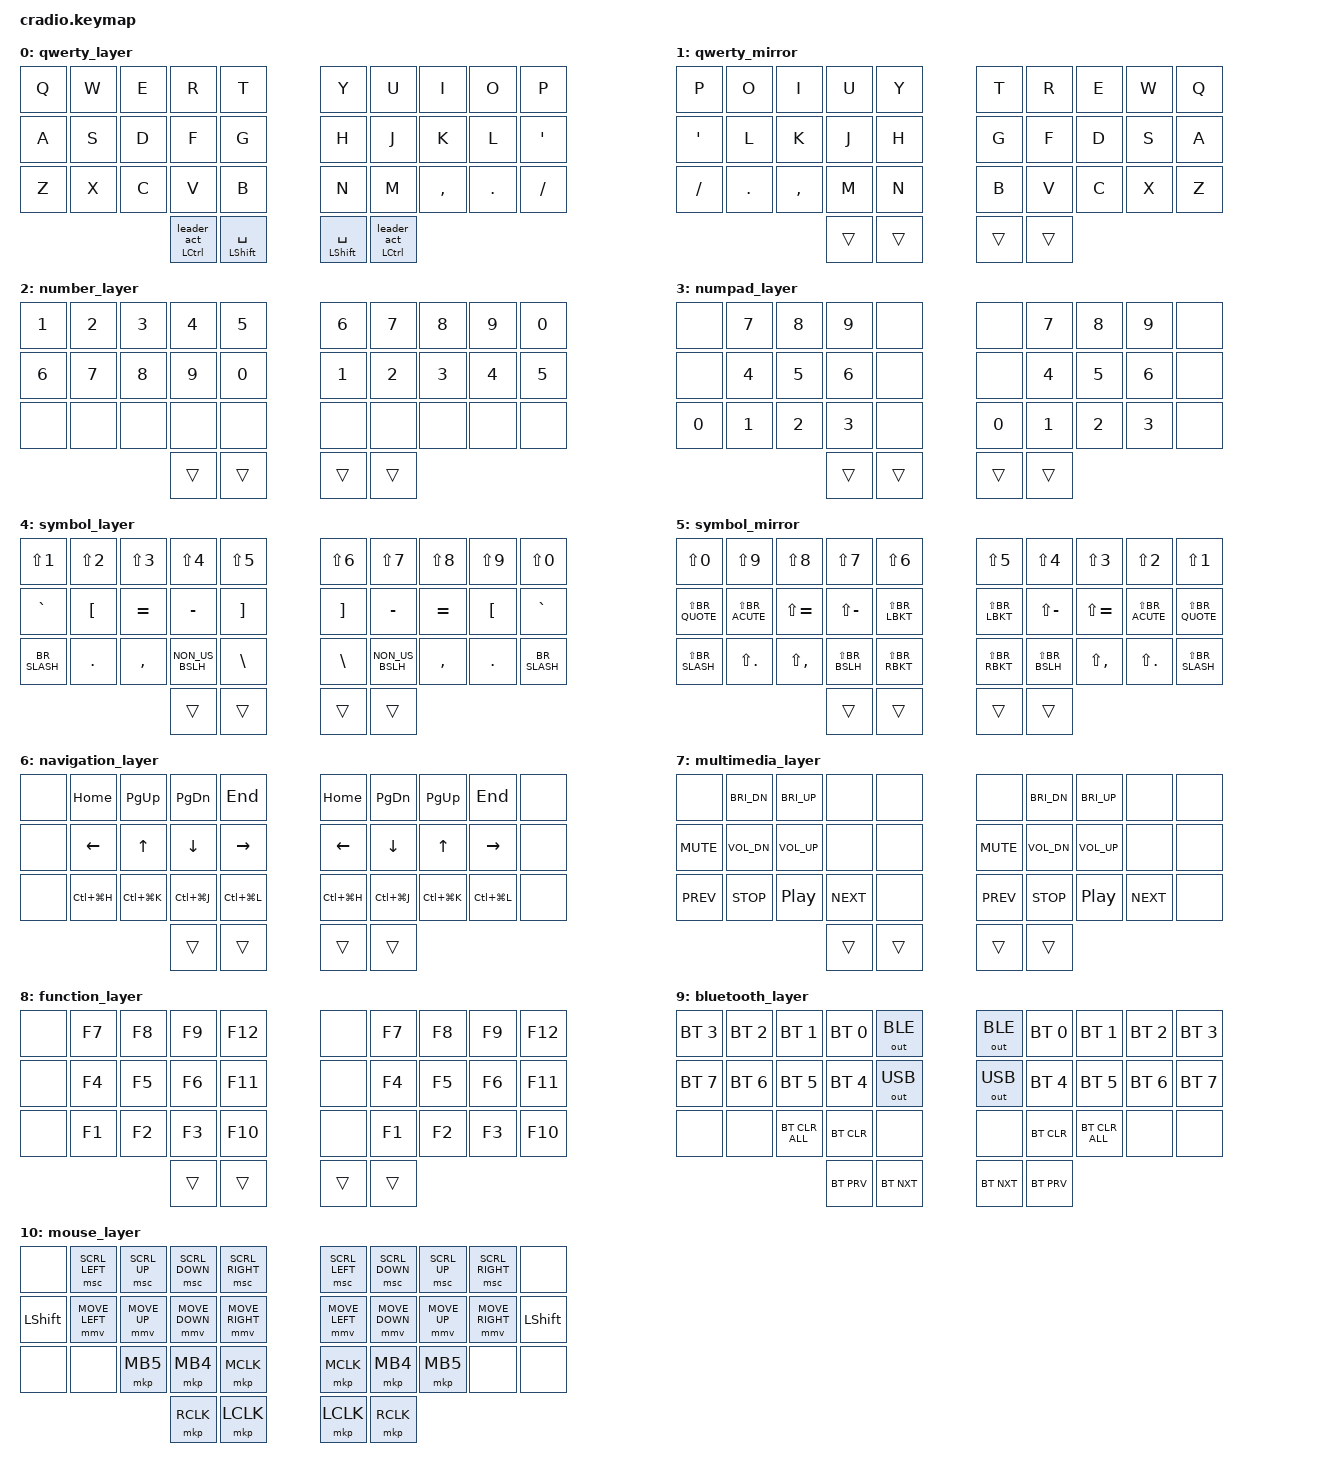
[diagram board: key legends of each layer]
// Copyright (c) 2022 The ZMK Contributors
// SPDX-License-Identifier: MIT


#include <behaviors.dtsi>
#include <dt-bindings/zmk/keys.h>
#include <dt-bindings/zmk/bt.h>
#include <dt-bindings/zmk/outputs.h>



#define BR_ACUTE LBKT
#define BR_GRAVE LS(BR_ACUTE)
#define BR_QUOTE GRAVE
#define BR_TILDE QUOT
#define BR_CEDIL SEMI
#define BR_SEMI SLASH
#define BR_LBKT RBKT
#define BR_RBKT BSLH
#define BR_CIRC LS(BR_TILDE)
#define BR_SLASH (ZMK_HID_USAGE(HID_USAGE_KEY, HID_USAGE_KEY_KEYBOARD_INTERNATIONAL1))
#define BR_BSLH NON_US_BSLH

#define BASE 0
#define BASE_MIRROR 1
#define NUMBER 2
#define NUMPAD 3
#define SYMBOL 4
#define SYMBOL_MIRROR 5
#define NAVIGATION 6
#define MULTIMEDIA 7
#define FUNCTION 8
#define BLUETOOTH 9
#define MOUSE 10


/* Global settings */

#define QUICK_TAP_MS 175
#define TD_TAPPING_TERM_MS 400

#define ZMK_MOUSE_DEFAULT_MOVE_VAL 1500  // 600
#define ZMK_MOUSE_DEFAULT_SCRL_VAL 20    // 10

#include <dt-bindings/zmk/pointing.h>

&mmv {
  acceleration-exponent = <1>;      // 1
  time-to-max-speed-ms = <500>;    // 40
  delay-ms = <0>;                   // 0
};

&msc {
  acceleration-exponent = <1>;      // 0
  time-to-max-speed-ms = <40>;      // 500
  delay-ms = <0>;                   // 10
};

&sk {  // sticky-key config
  release-after-ms = <900>;  // release after 0.6s
  quick-release;             // no double capitalization when rolling keys
};

&sl {  // sticky-layer config
  ignore-modifiers;          // allow chording sticky mods & layers
  release-after-ms = <400>;
};

&lt {  // layer-tap config
    flavor = "balanced";
    tapping-term-ms = <200>;
    quick-tap-ms = <QUICK_TAP_MS>;
};

&caps_word {
  continue-list = <UNDERSCORE MINUS BACKSPACE>;
};

&mt {
  tapping-term-ms = <250>;
};

/ {
  behaviors {
    swap: swapper {
      compatible = "zmk,behavior-tri-state";
      #binding-cells = <0>;
      bindings = <&kt LALT>, <&kp TAB>, <&kt LALT>;
      ignored-key-positions = <2 12 7 17>;
      timeout-ms = <600>;
    };
    td_mbase: tap_dance_mbase {
      compatible = "zmk,behavior-tap-dance";
      #binding-cells = <0>;
      tapping-term-ms = <TD_TAPPING_TERM_MS>;
      bindings = <&sl BASE_MIRROR>, <&tog BASE_MIRROR>;
    };
    td_npd: tap_dance_numpad {
      compatible = "zmk,behavior-tap-dance";
      #binding-cells = <0>;
      tapping-term-ms = <TD_TAPPING_TERM_MS>;
      bindings = <&sl NUMBER>, <&tog NUMPAD>;
    };
    td_nav: tap_dance_nav {
      compatible = "zmk,behavior-tap-dance";
      #binding-cells = <0>;
      tapping-term-ms = <TD_TAPPING_TERM_MS>;
      bindings = <&sl NAVIGATION>, <&tog NAVIGATION>;
    };
    td_mouse: tap_dance_mouse {
      compatible = "zmk,behavior-tap-dance";
      #binding-cells = <0>;
      tapping-term-ms = <TD_TAPPING_TERM_MS>;
      bindings = <&sl MOUSE>, <&tog MOUSE>;
    };
    td_fun: tap_dance_function {
      compatible = "zmk,behavior-tap-dance";
      #binding-cells = <0>;
      tapping-term-ms = <TD_TAPPING_TERM_MS>;
      bindings = <&sl FUNCTION>, <&tog FUNCTION>;
    };
    ctrl_leader: ctrl_leader {
      compatible = "zmk,behavior-hold-tap";
      #binding-cells = <2>;
      flavor = "hold-preferred";
      tapping-term-ms = <250>;
      quick-tap-ms = <QUICK_TAP_MS>;
      bindings = <&kp>, <&leader_act>;
      hold-while-undecided;
    };
  };

  macros {
    #include "macros.dtsi"
  };

  combos {
    #include "combos.dtsi"
  };

  leader: leader_behavior {
    compatible = "zmk,behavior-leader-key";
    #binding-cells = <0>;
    ignore-keys = <LSHFT RSHFT>;
    #include "leader.dtsi"
  };

};

/*           34 Keys
╭──────────────╮ ╭──────────────╮
│ 0  1  2  3  4│ │ 5  6  7  8  9│
│10 11 12 13 14│ │15 16 17 18 19│
│20 21 22 23 24│ │25 26 27 28 29│
╰────────╮30 31│ │32 33╭────────╯
         ╰─────╯ ╰─────╯         */

/ {
  keymap {
    compatible = "zmk,keymap";

    qwerty_layer {
      bindings = <
&kp Q &kp W &kp E &kp R &kp T    &kp Y &kp U &kp I     &kp O   &kp P
&kp A &kp S &kp D &kp F &kp G    &kp H &kp J &kp K     &kp L   &kp BR_TILDE
&kp Z &kp X &kp C &kp V &kp B    &kp N &kp M &kp COMMA &kp DOT &kp BR_SEMI
&ctrl_leader LCTRL 0 &mt LSHFT SPACE          &mt LSHFT SPACE &ctrl_leader LCTRL 0
      >;
    };

    qwerty_mirror {
      bindings = <
&kp P        &kp O   &kp I     &kp U &kp Y    &kp T &kp R &kp E &kp W &kp Q
&kp BR_TILDE &kp L   &kp K     &kp J &kp H    &kp G &kp F &kp D &kp S &kp A
&kp BR_SEMI  &kp DOT &kp COMMA &kp M &kp N    &kp B &kp V &kp C &kp X &kp Z
&trans &trans                                 &trans &trans
      >;
    };

   number_layer {
      bindings = <
&kp N1 &kp N2 &kp N3 &kp N4 &kp N5    &kp N6 &kp N7 &kp N8 &kp N9 &kp N0
&kp N6 &kp N7 &kp N8 &kp N9 &kp N0    &kp N1 &kp N2 &kp N3 &kp N4 &kp N5
&none  &none  &none  &none  &none     &none  &none  &none  &none  &none
&trans &trans                         &trans &trans
      >;
    };

   numpad_layer {
      bindings = <
&none  &kp N7 &kp N8 &kp N9 &none    &none  &kp N7 &kp N8 &kp N9 &none
&none  &kp N4 &kp N5 &kp N6 &none    &none  &kp N4 &kp N5 &kp N6 &none
&kp N0 &kp N1 &kp N2 &kp N3 &none    &kp N0 &kp N1 &kp N2 &kp N3 &none
&trans &trans                        &trans &trans
      >;
    };

   symbol_layer {
      bindings = <
&kp LS(N1)   &kp LS(N2)   &kp LS(N3) &kp LS(N4)  &kp LS(N5)     &kp LS(N6)  &kp LS(N7)  &kp LS(N8) &kp LS(N9)   &kp LS(N0)
&kp BR_QUOTE &kp BR_ACUTE &kp EQUAL  &kp MINUS   &kp BR_LBKT    &kp BR_LBKT &kp MINUS   &kp EQUAL  &kp BR_ACUTE &kp BR_QUOTE
&kp BR_SLASH &kp DOT      &kp COMMA  &kp BR_BSLH &kp BR_RBKT    &kp BR_RBKT &kp BR_BSLH &kp COMMA  &kp DOT      &kp BR_SLASH
&trans &trans                                                   &trans &trans
      >;
    };

   symbol_mirror {
      bindings = <
&kp LS(N0)       &kp LS(N9)   &kp LS(N8)    &kp LS(N7)      &kp LS(N6)          &kp LS(N5)      &kp LS(N4)      &kp LS(N3)     &kp LS(N2)   &kp LS(N1)
&kp LS(BR_QUOTE) &kp BR_GRAVE &kp LS(EQUAL) &kp LS(MINUS)   &kp LS(BR_LBKT)     &kp LS(BR_LBKT) &kp LS(MINUS)   &kp LS(EQUAL)  &kp BR_GRAVE &kp LS(BR_QUOTE)
&kp LS(BR_SLASH) &kp LS(DOT)  &kp LS(COMMA) &kp LS(BR_BSLH) &kp LS(BR_RBKT)     &kp LS(BR_RBKT) &kp LS(BR_BSLH) &kp LS(COMMA)  &kp LS(DOT)  &kp LS(BR_SLASH)
&trans &trans                                                                       &trans &trans
      >;
    };

    navigation_layer {
      bindings = <
&none &kp HOME      &kp PG_UP     &kp PG_DN     &kp END          &kp HOME      &kp PG_DN     &kp PG_UP     &kp END       &none
&none &kp LEFT      &kp UP        &kp DOWN      &kp RIGHT        &kp LEFT      &kp DOWN      &kp UP        &kp RIGHT     &none
&none &kp LC(LG(H)) &kp LC(LG(K)) &kp LC(LG(J)) &kp LC(LG(L))    &kp LC(LG(H)) &kp LC(LG(J)) &kp LC(LG(K)) &kp LC(LG(L)) &none
&trans &trans                                                    &trans &trans
      >;
    };

    multimedia_layer {
      bindings = <
&none &kp C_BRI_DN &kp C_BRI_UP &none &none     &none      &kp C_BRI_DN &kp C_BRI_UP &none      &none
&kp K_MUTE &kp C_VOL_DN &kp C_VOL_UP &none &none &kp K_MUTE &kp C_VOL_DN &kp C_VOL_UP &none      &none
&kp C_PREV &kp C_STOP   &kp C_PP     &kp C_NEXT &none     &kp C_PREV &kp C_STOP   &kp C_PP     &kp C_NEXT &none
&trans &trans                       &trans &trans
      >;
    };

    function_layer {
      bindings = <
&none &kp F7 &kp F8 &kp F9 &kp F12    &none &kp F7 &kp F8 &kp F9 &kp F12
&none &kp F4 &kp F5 &kp F6 &kp F11    &none &kp F4 &kp F5 &kp F6 &kp F11
&none &kp F1 &kp F2 &kp F3 &kp F10    &none &kp F1 &kp F2 &kp F3 &kp F10
&trans &trans                         &trans &trans
      >;
    };


    bluetooth_layer {
      bindings = <
&bt BT_SEL 3 &bt BT_SEL 2 &bt BT_SEL 1   &bt BT_SEL 0 &out OUT_BLE    &out OUT_BLE &bt BT_SEL 0 &bt BT_SEL 1   &bt BT_SEL 2 &bt BT_SEL 3
&bt BT_SEL 7 &bt BT_SEL 6 &bt BT_SEL 5   &bt BT_SEL 4 &out OUT_USB    &out OUT_USB &bt BT_SEL 4 &bt BT_SEL 5   &bt BT_SEL 6 &bt BT_SEL 7
&none        &none        &bt BT_CLR_ALL &bt BT_CLR   &none           &none        &bt BT_CLR   &bt BT_CLR_ALL &none        &none
&bt BT_PRV &bt BT_NXT                                                 &bt BT_NXT &bt BT_PRV
      >;
    };

    mouse_layer {
      bindings = <
&none     &msc SCRL_LEFT &msc SCRL_UP &msc SCRL_DOWN &msc SCRL_RIGHT    &msc SCRL_LEFT &msc SCRL_DOWN &msc SCRL_UP &msc SCRL_RIGHT &none
&kp LSHFT &mmv MOVE_LEFT &mmv MOVE_UP &mmv MOVE_DOWN &mmv MOVE_RIGHT    &mmv MOVE_LEFT &mmv MOVE_DOWN &mmv MOVE_UP &mmv MOVE_RIGHT &kp LSHFT
&none     &none          &mkp MB5     &mkp MB4       &mkp MCLK          &mkp MCLK      &mkp MB4       &mkp MB5     &none           &none
&mkp RCLK &mkp LCLK                                                     &mkp LCLK &mkp RCLK
      >;
    };
  };
};


